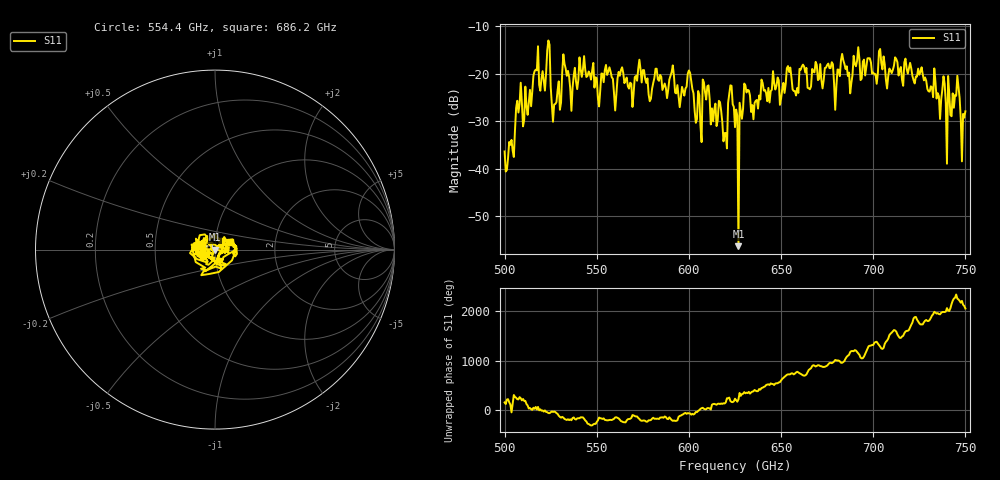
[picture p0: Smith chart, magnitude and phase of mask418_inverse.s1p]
!Created with skrf (http://scikit-rf.org).
# GHz S MA R 50.0
!freq magS11 angS11
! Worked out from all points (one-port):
!   401 points, 500 GHz to 750 GHz, reference 50 ohm
!   lowest |S11| = -56.3 dB at 626.9 GHz (marker M1), VSWR 1.00, Z = 49.9 - j0.105 ohm
!   |S11| at or under -10 dB: start of sweep to end of sweep
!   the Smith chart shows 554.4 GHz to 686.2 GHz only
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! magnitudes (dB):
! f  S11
! 500 GHz  -36.4
! 516.9 GHz  -19.1
! 520.6 GHz  -19.5
! 523.8 GHz  -13.0
! 526.9 GHz  -26.5
! 531.2 GHz  -19.8
! 562.5 GHz  -20.4
! 579.4 GHz  -25.3
! 590.6 GHz  -19.7
! 593.8 GHz  -22.4
! 600.6 GHz  -19.8
! 605.6 GHz  -24.5
! 608.8 GHz  -23.9
! 619.4 GHz  -32.5
! 622.5 GHz  -22.4
! 625 GHz  -31.3
! 625.6 GHz  -27.5
! 626.9 GHz  -56.3
! 631.2 GHz  -23.9
! 635 GHz  -29.6
! 656.2 GHz  -23.3
! 676.9 GHz  -18.8
! 680 GHz  -22.7
! 683.8 GHz  -17.2
! 687.5 GHz  -24.1
! 690.6 GHz  -18.4
! 718.8 GHz  -20.0
! 750 GHz  -27.9
